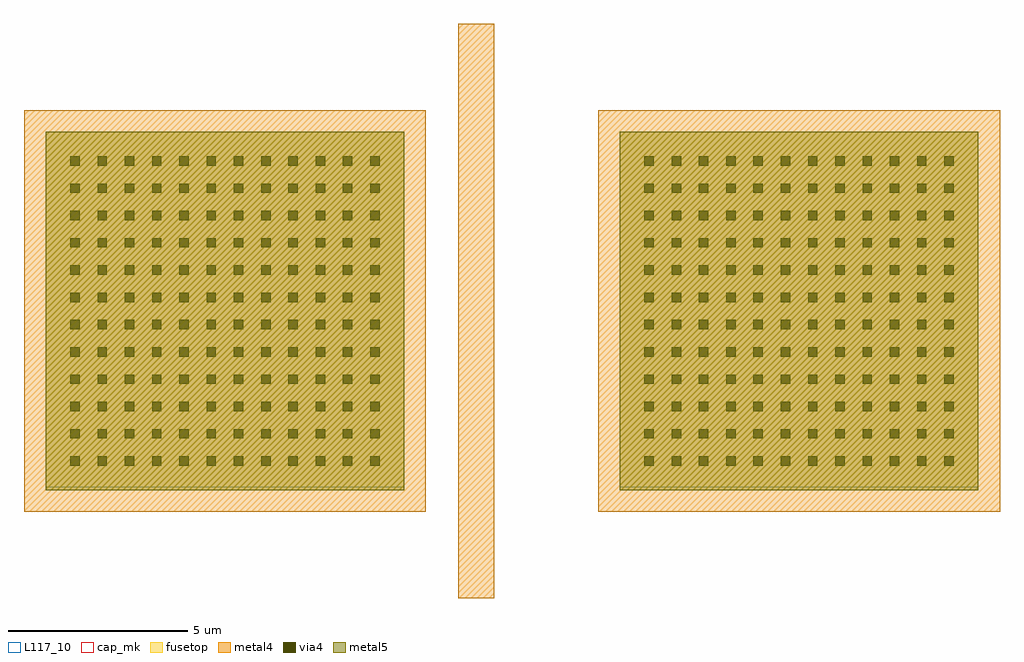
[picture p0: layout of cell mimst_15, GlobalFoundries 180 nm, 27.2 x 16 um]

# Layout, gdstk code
import gdstk
lib = gdstk.Library(unit=1e-6, precision=1e-09)
def R(c, l, rs):  # rectangles x0, y0, x1, y1
    for r in rs: c.add(gdstk.rectangle(r[:2], r[2:], *l))
def A(c, l, x, y, w, h, nx, ny, dx, dy):  # array of equal rectangles
    R(c, l, [(x+i*dx, y+j*dy, x+i*dx+w, y+j*dy+h) for i in range(nx) for j in range(ny)])
via4 = (41, 0)
metal4 = (46, 0)
fusetop = (75, 0)
metal5 = (81, 0)
cap_mk = (117, 5)
L117_10 = (117, 10)

cap_mim = lib.new_cell('cap_mim')
A(cap_mim, via4, 0.69, 0.69, 0.26, 0.26, 12, 12, 0.76, 0.76)
R(cap_mim, metal4, [(-0.6,-0.6,10.6,10.6)])
R(cap_mim, fusetop, [(0,0,10,10)])
R(cap_mim, metal5, [(0,0,10,10)])
R(cap_mim, cap_mk, [(-0.6,-0.6,10.6,10.6)])
R(cap_mim, L117_10, [(0,0,10,0.1)])

mimst_15 = lib.new_cell('mimst_15')
R(mimst_15, metal4, [(11.5,-3,12.5,13)])
mimst_15.add(gdstk.Reference(cap_mim, (0,0)))
mimst_15.add(gdstk.Reference(cap_mim, (16,0)))

lib.write_gds('mimst_15.gds')
